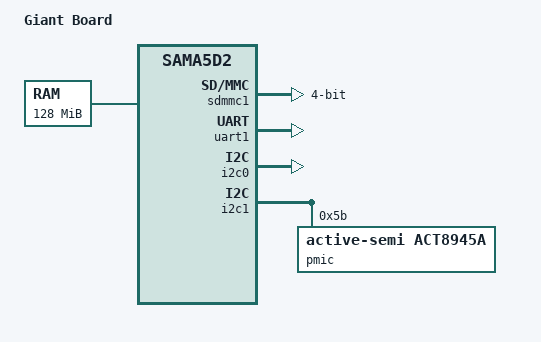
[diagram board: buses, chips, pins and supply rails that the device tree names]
// SPDX-License-Identifier: GPL-2.0+
/*
 * at91-sama5d27_giantboard.dts - Device Tree file for Giant Board
 *
 * Copyright (C) 2020 Greg Gallagher <greg@embeddedgreg.com>
 *
 * Derived from at91-sama5d27_som1_ek.dts
 *
 * Copyright (C) 2017 Microchip Corporation
 *		      Wenyou Yang <wenyou.yang@microchip.com>
 */
/dts-v1/;
#include "sama5d2.dtsi"
#include "sama5d2-pinfunc.h"

/ {
	model = "Giant Board";
	compatible = "atmel,sama5d27-giantboard", "atmel,sama5d2", "atmel,sama5";

	memory {
		reg = <0x20000000 0x8000000>;
	};

	chosen {
		bootph-all;
		stdout-path = &uart1;
	};

	ahb {
		sdmmc1: sdio-host@b0000000 {
			bus-width = <4>;
			pinctrl-names = "default";
			pinctrl-0 = <&pinctrl_sdmmc1_default>;
			status = "okay";
			bootph-all;
		};

		apb {

			uart1: serial@f8020000 {
				pinctrl-names = "default";
				pinctrl-0 = <&pinctrl_uart1_default>;
				status = "okay";
				bootph-all;
			};

			i2c0: i2c@f8028000 {
				pinctrl-names = "default";
				pinctrl-0 = <&pinctrl_i2c0_default>;
				status = "okay";
			};

			i2c1: i2c@fc028000 {
				pinctrl-names = "default";
				pinctrl-0 = <&pinctrl_i2c1_default>;
				status = "okay";

				pmic@5b {
					compatible = "active-semi,act8945a";
					reg = <0x5b>;
					active-semi,vsel-low;
					status = "okay";
				};
			};

			pit: timer@f8048030 {
				status = "okay";
				bootph-all;
			};

			sfr: sfr@f8030000 {
				status = "okay";
				bootph-all;
			};

			pioA: pinctrl@fc038000 {
				pinctrl_sdmmc1_default: sdmmc1_default {
					cmd_data {
						pinmux = <PIN_PA28__SDMMC1_CMD>,
							 <PIN_PA18__SDMMC1_DAT0>,
							 <PIN_PA19__SDMMC1_DAT1>,
							 <PIN_PA20__SDMMC1_DAT2>,
							 <PIN_PA21__SDMMC1_DAT3>;
						bias-pull-up;
						bootph-all;
					};

					ck_cd {
						pinmux = <PIN_PA22__SDMMC1_CK>,
							 <PIN_PA30__SDMMC1_CD>;
						bias-disable;
						bootph-all;
					};
				};

				pinctrl_uart1_default: uart1_default {
					pinmux = <PIN_PD2__URXD1>,
						 <PIN_PD3__UTXD1>;
					bias-disable;
					bootph-all;
				};

				pinctrl_i2c0_default: i2c0_default {
					pinmux = <PIN_PD21__TWD0>,
						 <PIN_PD22__TWCK0>;
					bias-disable;
				};

				pinctrl_i2c1_default: i2c1_default {
					pinmux = <PIN_PD4__TWD1>,
						 <PIN_PD5__TWCK1>;
					bias-disable;
				};

				pinctrl_usb_default: usb_default {
					pinmux = <PIN_PB10__GPIO>;
					bias-disable;
				};

				pinctrl_usba_vbus: usba_vbus {
					pinmux = <PIN_PA31__GPIO>;
					bias-disable;
				};
			};
		};
	};
};
